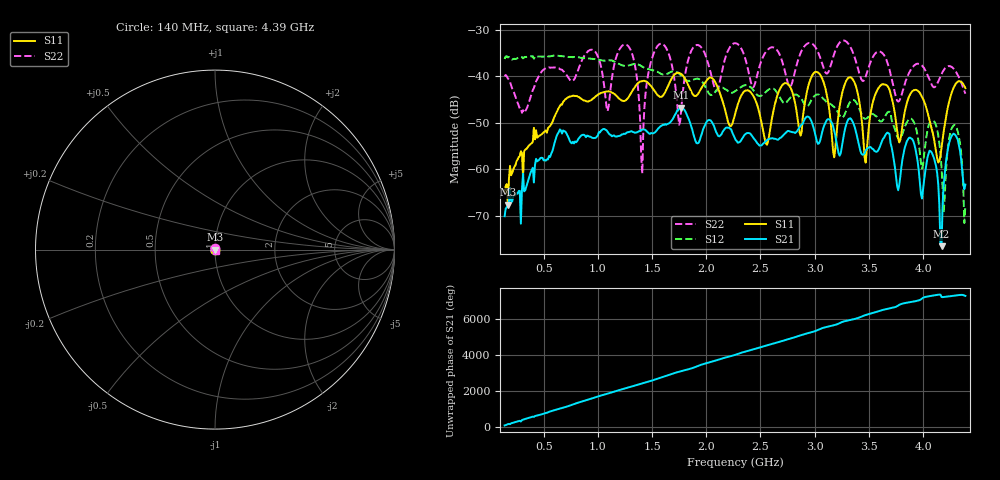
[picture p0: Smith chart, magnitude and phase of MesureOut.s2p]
!Created with skrf (http://scikit-rf.org).
# MHz S RI R 50.0
!freq ReS11 ImS11 ReS21 ImS21 ReS12 ImS12 ReS22 ImS22
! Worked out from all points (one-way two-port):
!   426 points, 140 MHz to 4.39 GHz, reference 50 ohm
!   highest |S21| = -46.77 dB at 1.77 GHz (marker M1); lowest = -76.5 dB at 4.17 GHz (marker M2)
!   lowest |S11| = -67.6 dB at 170 MHz (marker M3), VSWR 1.00, Z = 50 - j0.0418 ohm
!   |S11| at or under -10 dB: start of sweep to end of sweep
!   |S22| runs from -60.9 to -32.3 dB; largest |S21 - S12| = 0.019
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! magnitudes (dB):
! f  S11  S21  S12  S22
! 140 MHz  -64.9  -70.0  -36.3  -40.0
! 170 MHz  -67.6  -67.6  -36.0  -40.5
! 850 MHz  -44.9  -52.7  -36.1  -36.7
! 1.09 GHz  -43.2  -51.9  -36.6  -47.5
! 1.28 GHz  -44.6  -52.0  -37.7  -33.5
! 1.41 GHz  -41.1  -51.5  -37.9  -60.9
! 1.56 GHz  -44.2  -51.1  -39.2  -33.2
! 1.77 GHz  -39.5  -46.8  -39.9  -46.9
! 1.88 GHz  -44.0  -52.3  -40.7  -33.8
! 2.09 GHz  -41.6  -51.9  -43.1  -43.1
! 2.27 GHz  -47.7  -53.6  -43.1  -32.9
! 2.87 GHz  -52.8  -50.6  -44.6  -35.0
! 2.98 GHz  -39.7  -50.3  -44.7  -33.1
! 3.18 GHz  -57.4  -51.7  -46.6  -35.2
! 3.31 GHz  -40.3  -49.2  -46.3  -33.0
! 3.47 GHz  -58.6  -55.9  -49.1  -40.1
! 3.69 GHz  -42.9  -52.4  -47.6  -38.5
! 3.77 GHz  -53.3  -64.5  -53.4  -45.4
! 4.08 GHz  -51.3  -56.4  -49.6  -41.8
! 4.17 GHz  -55.3  -76.5  -59.6  -39.5
! 4.27 GHz  -43.1  -52.6  -50.9  -38.1
! 4.39 GHz  -42.5  -63.2  -67.7  -43.7
